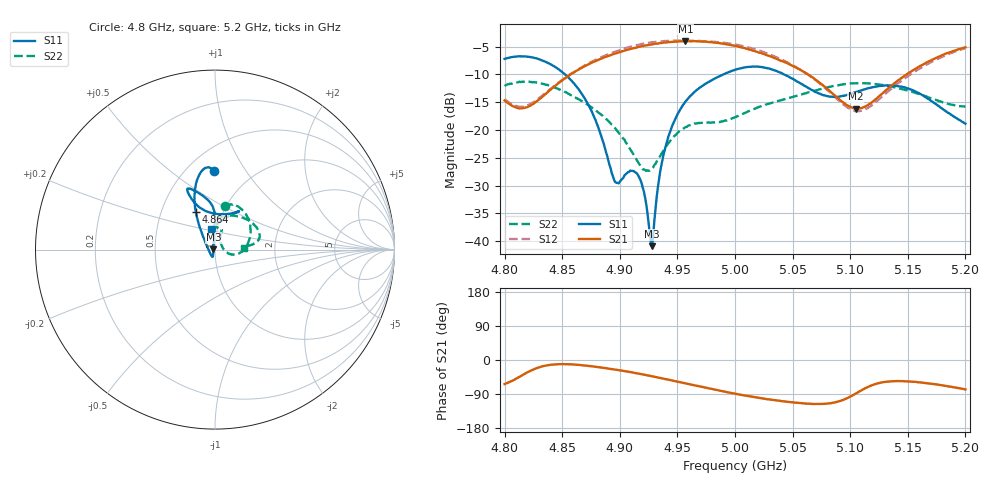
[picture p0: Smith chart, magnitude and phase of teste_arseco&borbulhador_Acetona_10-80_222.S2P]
! Network Analyzer HP8722D
! Hewlett-Packard
! Data name: Linha & Wilkinson
! Saver's name: Rodrigo Anjos
! Comments: Teste da utilização de aquisição
! continua pelo VNA HP8722D
! Time and date: 25/4/2025 17:07
!  Frequency  S11  S21  S12  S22
# HZ  S  MA R 50
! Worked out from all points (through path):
!   401 points, 4.8 GHz to 5.2 GHz, reference 50 ohm
!   highest |S21| = -4.00 dB at 4.957 GHz (marker M1); lowest = -16.2 dB at 5.105 GHz (marker M2)
!   lowest |S11| = -40.9 dB at 4.928 GHz (marker M3), VSWR 1.02, Z = 49.1 + j0.191 ohm
!   |S11| at or under -10 dB: 4.853 GHz to 4.99 GHz (137.3 MHz wide, 2.79 % of centre); 5.043 GHz to end of sweep
!   |S22| runs from -27.3 to -11.3 dB; largest |S21 - S12| = 1.2
!   S11 on the Smith chart (normalised r, x): 4.8 GHz: 0.67, +0.73; 4.864 GHz: 0.74, +0.33; 5.2 GHz: 0.93, +0.21
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4.8e9  0.4364 90.9  0.1845 -63.4  0.1897 69.9  0.2489 77.2
4.82e9  0.4551 97.3  0.1613 -32.0  0.1672 98.8  0.2731 61.4
4.843e9  0.3739 106.6  0.2451 -11.7  0.2493 118.9  0.2428 36.6
4.864e9  0.2347 117.1  0.3489 -12.8  0.3523 121.0  0.1897 12.3
4.867e9  0.2116 118.8  0.363 -13.9  0.368 120.6  0.1827 8.6
4.88e9  0.1148 129.0  0.4225 -18.3  0.4331 118.1  0.1476 -5.0
4.896e9  0.03407 -170.1  0.4878 -25.2  0.507 113.2  0.1038 -15.7
4.91e9  0.04304 -110.2  0.5386 -32.5  0.563 107.2  0.06487 -12.8
4.917e9  0.03735 -107.6  0.5609 -36.3  0.5876 103.5  0.04909 0.4
4.922e9  0.0246 -113.8  0.5754 -39.2  0.6014 100.7  0.04363 17.2
4.926e9  0.01157 -144.5  0.5849 -41.6  0.6109 98.4  0.0432 33.8
4.928e9  0.009043 167.6  0.5886 -42.9  0.6153 97.0  0.04526 41.2
4.934e9  0.03573 101.8  0.6021 -46.7  0.6262 93.4  0.05681 57.7
4.943e9  0.09254 91.7  0.6176 -52.4  0.636 87.3  0.07816 68.1
4.957e9  0.1804 89.9  0.6309 -61.6  0.6388 78.7  0.1063 70.5
5e9  0.3484 109.3  0.5692 -88.9  0.5901 50.7  0.1305 88.1
5.03e9  0.3563 115.4  0.4627 -104.0  0.4792 33.7  0.1727 85.4
5.067e9  0.2285 105.6  0.2989 -115.9  0.2962 23.7  0.222 56.8
5.105e9  0.2198 66.0  0.1557 -88.2  0.1484 54.8  0.2632 25.5
5.134e9  0.2517 58.0  0.2411 -56.6  0.2268 88.8  0.248 12.3
5.167e9  0.1924 69.3  0.407 -61.2  0.3913 85.6  0.1989 7.0
5.2e9  0.1142 101.2  0.5539 -77.6  0.5441 70.1  0.1623 3.7
